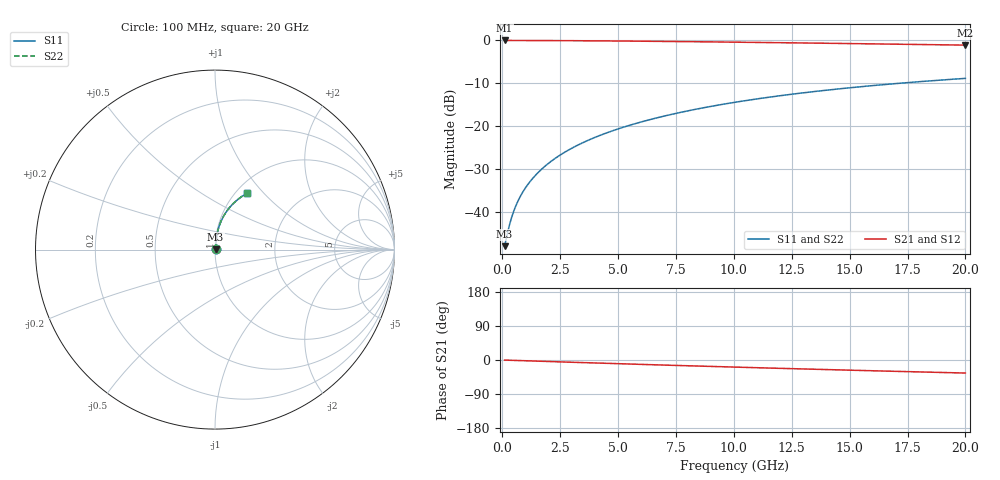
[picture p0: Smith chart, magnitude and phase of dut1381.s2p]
! Touchstone file exported from HFSS 2024.1.0
!  File:  C:/UserFiles/LocalFiles/RDL_TSV_Batchsim/temp_RDL_bottom_1381_1780371579.aedt
!  Generated:  11:42:34 AM Jun  2, 2026
!  Design:  RDL_bottom
!  Project:  temp_RDL_bottom_1381_1780371579
!  Setup:  Setup1
!  Solution:  Sweep
! Variables:
!  dtsv = 10.80580581um
!  hbump = 3um
!  htsv = 94.46um
!  ldown = 444.02um
!  lrdl = 100um
!  p = 40
!  p1 = 49.27um
!  rhole = 1um
!  t = 450um
!  tdown = 2.63um
!  trdl = 3.915915916um
!  wdown = 18.64um
!  wrdl = 20um
# GHz S MA R 50.000000
! Terminal data exported
! Port[1] = RDL1_T1
! Port[2] = RDL1_T2
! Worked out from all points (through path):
!   200 points, 100 MHz to 20 GHz, reference 50 ohm
!   highest |S21| = -0.03 dB at 100 MHz (marker M1); lowest = -1.1 dB at 20 GHz (marker M2)
!   group delay of S21, straight-line fit = 4.77 ps
!   lowest |S11| = -48.0 dB at 100 MHz (marker M3), VSWR 1.01, Z = 50.3 + j0.197 ohm
!   |S11| at or under -10 dB: start of sweep to 17.2 GHz
!   |S22| runs from -48.0 to -8.9 dB; largest |S21 - S12| = 3.3e-15
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0.1  0.003959 29.6  0.9966 -0.2  0.9966 -0.2  0.003959 29.6
! Gamma 0 0 0 0
! Port Impedance 50 0 50 0
0.3  0.006834 57.9  0.9963 -0.6  0.9963 -0.6  0.006834 57.9
0.4  0.008522 63.8  0.9962 -0.8  0.9962 -0.8  0.008522 63.8
0.5  0.01024 67.7  0.996 -1.0  0.996 -1.0  0.01024 67.7
0.6  0.01198 70.5  0.9959 -1.2  0.9959 -1.2  0.01198 70.5
0.8  0.01546 74.2  0.9956 -1.6  0.9956 -1.6  0.01546 74.2
1.1  0.02072 77.4  0.9951 -2.2  0.9951 -2.2  0.02072 77.4
1.3  0.02425 78.8  0.9948 -2.6  0.9948 -2.6  0.02425 78.8
1.6  0.0296 80.3  0.9942 -3.2  0.9942 -3.2  0.0296 80.3
2.1  0.03859 81.7  0.9931 -4.2  0.9931 -4.2  0.03859 81.7
2.7  0.04952 82.5  0.9915 -5.4  0.9915 -5.4  0.04952 82.5
3.5  0.06428 82.7  0.9888 -6.9  0.9888 -6.9  0.06428 82.7
4.2  0.07736 82.6  0.986 -8.2  0.986 -8.2  0.07737 82.6
5  0.09248 82.1  0.9823 -9.8  0.9823 -9.8  0.09248 82.1
5.9  0.1097 81.3  0.9777 -11.4  0.9777 -11.4  0.1097 81.3
6.8  0.1269 80.3  0.9727 -13.1  0.9727 -13.1  0.127 80.3
8.4  0.1578 78.2  0.963 -15.9  0.963 -15.9  0.1578 78.2
10.1  0.1902 75.8  0.9519 -18.9  0.9519 -18.9  0.1903 75.8
11.7  0.2202 73.3  0.9408 -21.6  0.9408 -21.6  0.2203 73.3
13.4  0.2512 70.6  0.9287 -24.3  0.9287 -24.3  0.2512 70.6
16.7  0.308 65.4  0.9043 -29.5  0.9043 -29.5  0.308 65.4
20  0.3597 60.4  0.8793 -34.4  0.8793 -34.4  0.3598 60.4
